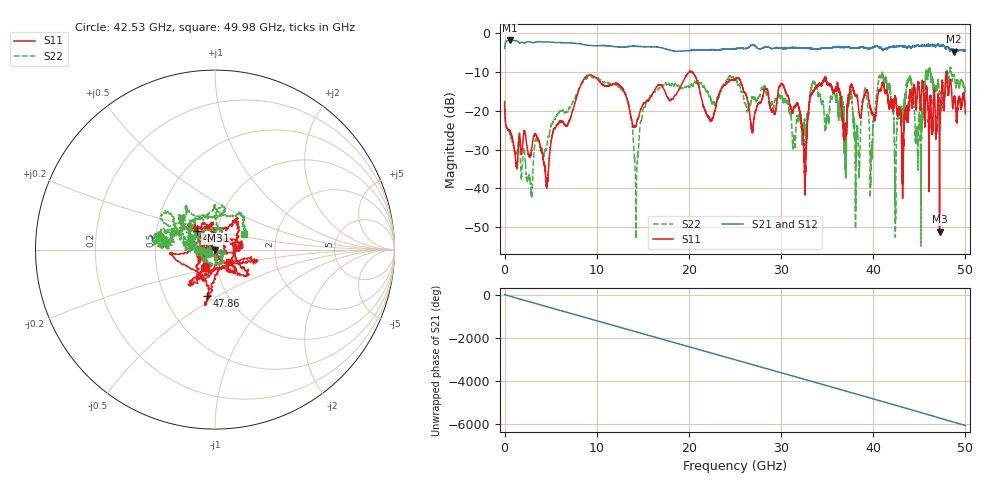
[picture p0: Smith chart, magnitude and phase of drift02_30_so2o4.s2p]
!Created with skrf (http://scikit-rf.org).
# Hz S RI R 50.0
!freq ReS11 ImS11 ReS21 ImS21 ReS12 ImS12 ReS22 ImS22
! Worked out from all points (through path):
!   10001 points, 300 kHz to 50 GHz, reference 50 ohm
!   highest |S21| = -2.00 dB at 580.3 MHz (marker M1); lowest = -4.8 dB at 48.76 GHz (marker M2)
!   group delay of S21, straight-line fit = 337 ps
!   lowest |S11| = -51.1 dB at 47.2 GHz (marker M3), VSWR 1.01, Z = 49.9 - j0.264 ohm
!   |S11| at or under -10 dB: start of sweep to 20.07 GHz; 20.20763 GHz to 20.2225 GHz (14.87 MHz wide, 0.0735 % of centre); 20.24 GHz to end of sweep (the widest 3 of 5)
!   |S22| runs from -54.8 to -8.6 dB; largest |S21 - S12| = 0.033
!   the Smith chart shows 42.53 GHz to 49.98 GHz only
!   S11 on the Smith chart (normalised r, x): 42.53 GHz: 0.88, -0.18; 43.91 GHz: 0.80, +0.17; 47.86 GHz: 0.81, -0.45; 49.98 GHz: 1.16, -0.16
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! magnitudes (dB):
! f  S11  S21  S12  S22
! 300 kHz  -17.9  -4.1  -4.0  -17.4
! 580.3 MHz  -25.3  -2.0  -2.0  -26.0
! 4.565 GHz  -39.8  -2.4  -2.4  -29.4
! 8.335 GHz  -13.0  -2.9  -2.9  -13.2
! 13.01 GHz  -15.3  -3.7  -3.7  -15.7
! 14.28 GHz  -23.7  -3.5  -3.5  -48.8
! 16.67 GHz  -13.4  -3.7  -3.7  -14.5
! 25 GHz  -12.1  -4.1  -4.1  -12.1
! 30.18 GHz  -13.3  -4.1  -4.1  -16.8
! 32.56 GHz  -38.7  -3.9  -4.0  -23.4
! 33.34 GHz  -15.8  -4.0  -4.1  -13.5
! 38.29 GHz  -16.9  -3.9  -3.9  -23.9
! 41.67 GHz  -18.5  -3.8  -3.9  -13.2
! 42.53 GHz  -18.9  -3.5  -3.5  -26.9
! 43.91 GHz  -16.7  -3.6  -3.5  -11.5
! 44.99 GHz  -14.5  -3.4  -3.3  -21.1
! 45.91 GHz  -18.0  -3.2  -3.1  -11.9
! 47.2 GHz  -51.1  -3.5  -3.5  -17.2
! 47.86 GHz  -11.7  -4.2  -4.1  -13.3
! 48.76 GHz  -16.7  -4.8  -4.8  -10.8
! 49.98 GHz  -19.8  -4.6  -4.6  -14.6
! 50 GHz  -20.8  -4.6  -4.6  -14.9
